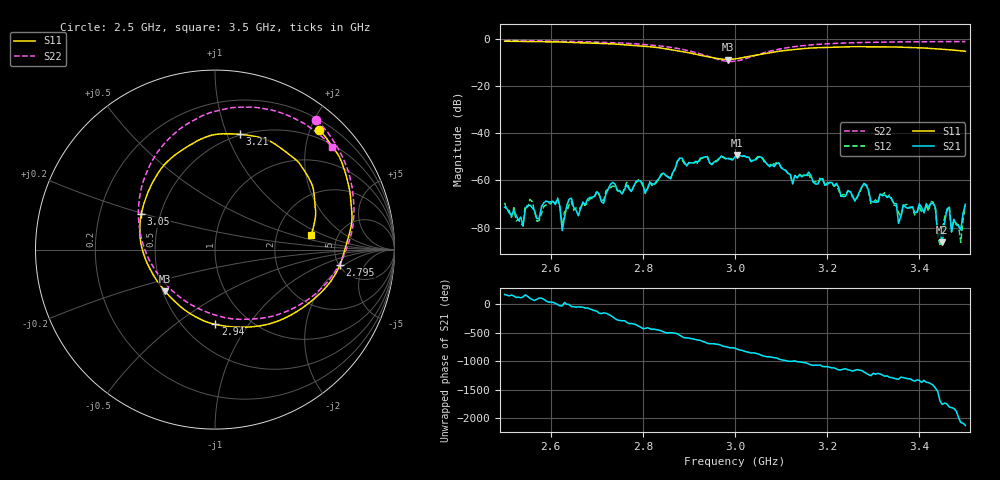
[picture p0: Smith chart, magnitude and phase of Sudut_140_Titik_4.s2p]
# Hz S RI R 50
! CMT, C1220, 16058040, 17.2.0/1
! Date: 15/08/2018 10:33:10
! Data: Format (Calibration Info)
! Freq  S11: Re/Im (F2)  S21: Re/Im (F2)  S12: Re/Im (F2)  S22: Re/Im (F2)
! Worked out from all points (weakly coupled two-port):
!   201 points, 2.5 GHz to 3.5 GHz, reference 50 ohm
!   highest |S21| = -49.20 dB at 3.005 GHz (marker M1); lowest = -86.3 dB at 3.45 GHz (marker M2)
!   lowest |S11| = -8.8 dB at 2.985 GHz (marker M3), VSWR 2.13, Z = 25.8 - j13.7 ohm
!   |S11| at or under -10 dB: nowhere
!   |S22| runs from -9.6 to -0.8 dB; largest |S21 - S12| = 0.00023
!   S11 on the Smith chart (normalised r, x): 2.5 GHz: 0.35, +2.15; 2.795 GHz: 5.13, -1.70; 2.94 GHz: 0.71, -0.71; 3.05 GHz: 0.39, +0.19; 3.21 GHz: 0.49, +1.11; 3.5 GHz: 3.18, +0.71
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2.5e9  0.5801 0.6672  -0.000266 5.37e-05  -0.000326 8.27e-05  0.5655 0.7222
2.54e9  0.6303 0.6058  -6.75e-05 8.65e-05  -8.88e-05 6.19e-05  0.611 0.6735
2.555e9  0.6457 0.5826  -6.42e-05 0.000293  -9.8e-05 0.000383  0.6272 0.6546
2.57e9  0.666 0.5571  1.45e-05 0.000155  6.14e-05 0.000122  0.6426 0.632
2.615e9  0.7106 0.4745  0.000405 -4.02e-05  0.000423 -2.89e-06  0.6878 0.5598
2.625e9  0.7202 0.4474  7.54e-05 -4.32e-05  8.1e-05 -6.79e-05  0.6973 0.542
2.64e9  0.7321 0.4069  0.000399 -3.91e-05  0.000306 -3.45e-05  0.711 0.5148
2.67e9  0.749 0.337  0.000218 -0.000272  0.000162 -0.000296  0.7369 0.4523
2.795e9  0.697 -0.084  0.00073 -0.00065  0.000702 -0.000636  0.76 0.0909
2.835e9  0.601 -0.2285  -8.62e-05 -0.00109  -6.12e-05 -0.00107  0.7025 -0.0649
2.94e9  0.00126 -0.4164  0.0026 0.00181  0.00259 0.00189  0.1767 -0.3882
2.985e9  -0.2781 -0.2314  0.00241 -0.00162  0.00253 -0.00151  -0.1713 -0.283
3e9  -0.3459 -0.1379  0.002 -0.00243  0.00187 -0.00255  -0.2689 -0.1983
3.005e9  -0.3636 -0.1051  0.00138 -0.00318  0.00119 -0.0031  -0.2967 -0.1649
3.05e9  -0.411 0.1965  -0.00262 -0.00156  -0.00278 -0.00157  -0.4261 0.1755
3.17e9  -0.0116 0.6389  0.0009 0.000142  0.00089 0.000261  -0.079 0.7419
3.21e9  0.1399 0.642  0.000736 -0.000527  0.000675 -0.000547  0.0673 0.7857
3.335e9  0.4665 0.485  -0.000434 0.00015  -0.000467 0.000153  0.4035 0.7486
3.355e9  0.497 0.4408  -7.33e-05 9.95e-05  -0.000118 0.000172  0.4416 0.7313
3.425e9  0.5552 0.2709  0.000217 0.000248  0.000204 0.000295  0.5579 0.6606
3.45e9  0.5605 0.2061  3.48e-05 3.39e-05  -4.28e-05 8.21e-05  0.5933 0.6309
3.5e9  0.5348 0.0786  0.000249 0.000189  0.000212 0.000198  0.6515 0.5737
